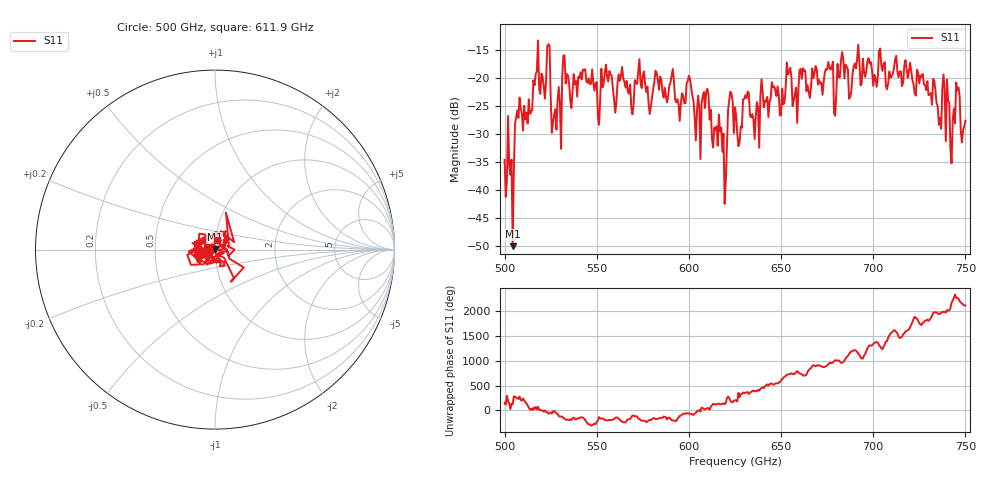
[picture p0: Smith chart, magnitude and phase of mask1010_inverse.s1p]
!Created with skrf (http://scikit-rf.org).
# GHz S MA R 50.0
!freq magS11 angS11
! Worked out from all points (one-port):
!   401 points, 500 GHz to 750 GHz, reference 50 ohm
!   lowest |S11| = -49.9 dB at 504.4 GHz (marker M1), VSWR 1.01, Z = 49.8 + j0.267 ohm
!   |S11| at or under -10 dB: start of sweep to end of sweep
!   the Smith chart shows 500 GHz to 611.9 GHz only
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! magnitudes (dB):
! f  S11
! 500 GHz  -34.6
! 504.4 GHz  -49.9
! 506.9 GHz  -25.8
! 513.8 GHz  -26.4
! 516.9 GHz  -19.3
! 523.8 GHz  -14.0
! 526.9 GHz  -26.5
! 531.2 GHz  -19.8
! 562.5 GHz  -20.6
! 579.4 GHz  -25.0
! 590.6 GHz  -19.6
! 593.8 GHz  -23.8
! 600 GHz  -19.6
! 605 GHz  -23.2
! 609.4 GHz  -22.5
! 619.4 GHz  -42.4
! 622.5 GHz  -22.5
! 625 GHz  -25.2
! 656.2 GHz  -25.0
! 676.9 GHz  -18.6
! 680 GHz  -22.4
! 683.8 GHz  -16.7
! 687.5 GHz  -23.4
! 691.2 GHz  -16.7
! 718.8 GHz  -20.0
! 743.1 GHz  -27.6
! 745.6 GHz  -22.2
! 750 GHz  -27.6
